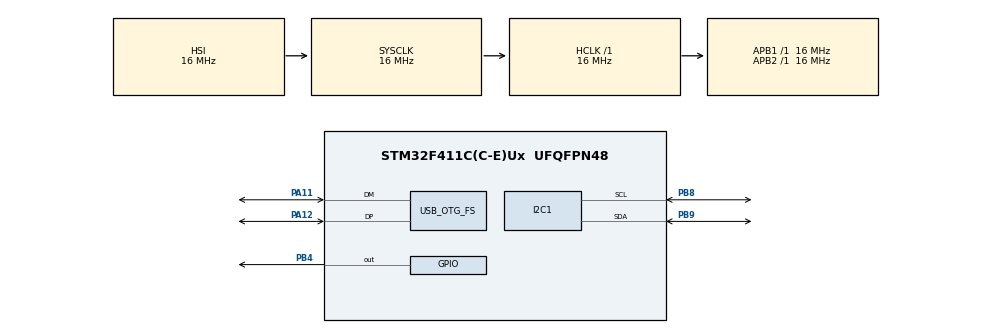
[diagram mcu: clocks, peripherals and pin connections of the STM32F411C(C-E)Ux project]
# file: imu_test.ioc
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Mcu.Family=STM32F4
Mcu.Name=STM32F411C(C-E)Ux
Mcu.Package=UFQFPN48
NVIC.OTG_FS_IRQn=true\:0\:0\:false\:false\:true\:false\:true\:true
NVIC.PriorityGroup=NVIC_PRIORITYGROUP_4
PA11.Mode=Device_Only
PA11.Signal=USB_OTG_FS_DM
PA12.Mode=Device_Only
PA12.Signal=USB_OTG_FS_DP
PA13.Mode=Serial_Wire
PA13.Signal=SYS_JTMS-SWDIO
PA14.Mode=Serial_Wire
PA14.Signal=SYS_JTCK-SWCLK
PB4.Signal=GPIO_Output
PB8.Mode=I2C
PB8.Signal=I2C1_SCL
PB9.Mode=I2C
PB9.Signal=I2C1_SDA
PH0\ -\ OSC_IN.Mode=HSE-External-Oscillator
PH0\ -\ OSC_IN.Signal=RCC_OSC_IN
PH1\ -\ OSC_OUT.Mode=HSE-External-Oscillator
PH1\ -\ OSC_OUT.Signal=RCC_OSC_OUT
ProjectManager.HeapSize=0x200
ProjectManager.StackSize=0x400
ProjectManager.TargetToolchain=CMake
RCC.48MHZClocksFreq_Value=48000000
RCC.AHBFreq_Value=16000000
RCC.APB1Freq_Value=16000000
RCC.APB2Freq_Value=16000000
RCC.CortexFreq_Value=16000000
RCC.HSE_VALUE=25000000
RCC.HSI_VALUE=16000000
RCC.LSE_VALUE=32768
RCC.PLLM=15
RCC.PLLN=144
RCC.PLLQ=5
RCC.SYSCLKFreq_VALUE=16000000
RCC.VCOOutputFreq_Value=240000000
USB_DEVICE.CLASS_NAME_FS=CDC
USB_DEVICE.VirtualMode=Cdc
USB_DEVICE.VirtualModeFS=Cdc_FS
USB_OTG_FS.VirtualMode=Device_Only
VP_USB_DEVICE_VS_USB_DEVICE_CDC_FS.Mode=CDC_FS
board=custom

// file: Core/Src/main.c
/* USER CODE BEGIN Header */
/**
  ******************************************************************************
  * @file           : main.c
  * @brief          : Main program body
  ******************************************************************************
  * @attention
  *
  * Copyright (c) 2026 STMicroelectronics.
  * All rights reserved.
  *
  * This software is licensed under terms that can be found in the LICENSE file
  * in the root directory of this software component.
  * If no LICENSE file comes with this software, it is provided AS-IS.
  *
  ******************************************************************************
  */
/* USER CODE END Header */
#include "main.h"
#include "stm32f4xx_hal.h"
#include "stm32f4xx_hal_def.h"
#include "stm32f4xx_hal_i2c.h"
#include "usb_device.h"

/* USER CODE BEGIN Includes */
#include <math.h>
#include <stdint.h>
#include <stdio.h>
#include "usbd_cdc_if.h"
#include "mpu6050.h"
#include "kalman.h"
/* USER CODE END Includes */

I2C_HandleTypeDef hi2c1;

void SystemClock_Config(void);
static void MX_GPIO_Init(void);
static void MX_I2C1_Init(void);

/* USER CODE BEGIN 0 */

char *data = "Hello World!\n";

/* USER CODE END 0 */

int main(void)
{

  /* MCU Configuration--------------------------------------------------------*/

  /* Reset of all peripherals, Initializes the Flash interface and the Systick. */
  HAL_Init();

  /* Configure the system clock */
  SystemClock_Config();

  /* Initialize all configured peripherals */
  MX_GPIO_Init();
  MX_I2C1_Init();
  MX_USB_DEVICE_Init();
  /* USER CODE BEGIN 2 */

  mpu6050_init();
  mpu6050_calibrate();

  /* USER CODE END 2 */

  /* Infinite loop */
  /* USER CODE BEGIN WHILE */

  // Define data reading structs for MPU6050
  MPU6050_Data_t acc_data;
  MPU6050_Data_t gyro_data;
  float yaw = 0.0f;

  // Define kalman data structs
  Kalman_t kalman_roll;
  Kalman_t kalman_pitch;
  Kalman_Init(&kalman_roll);
  Kalman_Init(&kalman_pitch);

  // Define a timer
  uint32_t timer = HAL_GetTick();

  while (1)
  {
    /* USER CODE END WHILE */

    /* USER CODE BEGIN 3 */

    // Roll - tilts left or right (cartwheel)
    //  + roll = - y
    //  - roll = + y
    // Pitch - tilts forward or backwards (nodding)
    //  + pitch = + x
    //  - pitch = - x
    // Roll - spins left or right (head turning)

    if (
        mpu6050_read_acc(&acc_data) == HAL_OK &&
        mpu6050_read_gyro(&gyro_data) == HAL_OK
    ) {
        // Update timer
        uint32_t current_time = HAL_GetTick();
        float dt = (current_time - timer) / 1000.0f;
        timer = current_time;

        // printf("Acc X: %d, Y: %d, Z: %d\r\n", acc_data.x, acc_data.y, acc_data.z);
        // printf("Gyro X: %d, Y: %d, Z: %d\r\n", gyro_data.x, gyro_data.y, gyro_data.z);

        // Calculate the roll and pitch in radians
        float roll_rad = atan2f(
            (float) acc_data.y,
            (float)acc_data.z
        );
        float pitch_rad = atan2f(
            (float) -acc_data.x,
            sqrtf((float) acc_data.y * acc_data.y + (float) acc_data.z * acc_data.z)
        );

        // Calculate roll and pitch degrees from acc
        float roll_acc = roll_rad * (180.0f / M_PI);
        float pitch_acc = pitch_rad * (180.0f / M_PI);

        // Calculate roll and pitch rates from gyro
        //  65.5 comes from the MPU6050 spec sheet
        float roll_rate = (float) gyro_data.x / 65.5;
        float pitch_rate = (float) gyro_data.y / 65.5;
        float yaw_rate = (float) gyro_data.z / 65.5;

        // Kalman filter calculations
        float roll = Kalman_GetAngle(&kalman_roll, roll_acc, roll_rate, dt);
        float pitch = Kalman_GetAngle(&kalman_pitch, pitch_acc, pitch_rate, dt);

        // Calculate yaw with drift handling
        yaw += yaw_rate * dt;
        if (yaw_rate > -0.5f && yaw_rate < 0.5f) {
            yaw_rate = 0;
        }
        yaw += yaw_rate * dt;

        // Extract values to log
        int roll_whole = (int)roll;
        int roll_decimal = (int)((roll - roll_whole) * 100);
        if (roll_decimal < 0) roll_decimal *= -1;

        int pitch_whole = (int)pitch;
        int pitch_decimal = (int)((pitch - pitch_whole) * 100);
        if (pitch_decimal < 0) pitch_decimal *= -1;

        int yaw_whole = (int)yaw;
        int yaw_decimal = (int)((yaw - yaw_whole) * 100);
        if (yaw_decimal < 0) yaw_decimal *= -1;

        printf("Roll: %d.%02d | Pitch: %d.%02d | Yaw: %d.%02d \r\n", roll_whole, roll_decimal, pitch_whole, pitch_decimal, yaw_whole, yaw_decimal);
    }

    HAL_Delay(50);

  }
  /* USER CODE END 3 */
}

void SystemClock_Config(void)
{
  RCC_OscInitTypeDef RCC_OscInitStruct = {0};
  RCC_ClkInitTypeDef RCC_ClkInitStruct = {0};

  /** Configure the main internal regulator output voltage
  */
  __HAL_RCC_PWR_CLK_ENABLE();
  __HAL_PWR_VOLTAGESCALING_CONFIG(PWR_REGULATOR_VOLTAGE_SCALE1);

  /** Initializes the RCC Oscillators according to the specified parameters
  * in the RCC_OscInitTypeDef structure.
  */
  RCC_OscInitStruct.OscillatorType = RCC_OSCILLATORTYPE_HSI|RCC_OSCILLATORTYPE_HSE;
  RCC_OscInitStruct.HSEState = RCC_HSE_ON;
  RCC_OscInitStruct.HSIState = RCC_HSI_ON;
  RCC_OscInitStruct.HSICalibrationValue = RCC_HSICALIBRATION_DEFAULT;
  RCC_OscInitStruct.PLL.PLLState = RCC_PLL_ON;
  RCC_OscInitStruct.PLL.PLLSource = RCC_PLLSOURCE_HSE;
  RCC_OscInitStruct.PLL.PLLM = 15;
  RCC_OscInitStruct.PLL.PLLN = 144;
  RCC_OscInitStruct.PLL.PLLP = RCC_PLLP_DIV2;
  RCC_OscInitStruct.PLL.PLLQ = 5;
  if (HAL_RCC_OscConfig(&RCC_OscInitStruct) != HAL_OK)
  {
    Error_Handler();
  }

  /** Initializes the CPU, AHB and APB buses clocks
  */
  RCC_ClkInitStruct.ClockType = RCC_CLOCKTYPE_HCLK|RCC_CLOCKTYPE_SYSCLK
                              |RCC_CLOCKTYPE_PCLK1|RCC_CLOCKTYPE_PCLK2;
  RCC_ClkInitStruct.SYSCLKSource = RCC_SYSCLKSOURCE_HSI;
  RCC_ClkInitStruct.AHBCLKDivider = RCC_SYSCLK_DIV1;
  RCC_ClkInitStruct.APB1CLKDivider = RCC_HCLK_DIV1;
  RCC_ClkInitStruct.APB2CLKDivider = RCC_HCLK_DIV1;

  if (HAL_RCC_ClockConfig(&RCC_ClkInitStruct, FLASH_LATENCY_0) != HAL_OK)
  {
    Error_Handler();
  }
}

static void MX_I2C1_Init(void)
{

  hi2c1.Instance = I2C1;
  hi2c1.Init.ClockSpeed = 100000;
  hi2c1.Init.DutyCycle = I2C_DUTYCYCLE_2;
  hi2c1.Init.OwnAddress1 = 0;
  hi2c1.Init.AddressingMode = I2C_ADDRESSINGMODE_7BIT;
  hi2c1.Init.DualAddressMode = I2C_DUALADDRESS_DISABLE;
  hi2c1.Init.OwnAddress2 = 0;
  hi2c1.Init.GeneralCallMode = I2C_GENERALCALL_DISABLE;
  hi2c1.Init.NoStretchMode = I2C_NOSTRETCH_DISABLE;
  if (HAL_I2C_Init(&hi2c1) != HAL_OK)
  {
    Error_Handler();
  }

}

static void MX_GPIO_Init(void)
{
  GPIO_InitTypeDef GPIO_InitStruct = {0};

  /* GPIO Ports Clock Enable */
  __HAL_RCC_GPIOH_CLK_ENABLE();
  __HAL_RCC_GPIOA_CLK_ENABLE();
  __HAL_RCC_GPIOB_CLK_ENABLE();

  /*Configure GPIO pin Output Level */
  HAL_GPIO_WritePin(GPIOB, GPIO_PIN_4, GPIO_PIN_RESET);

  /*Configure GPIO pin : PB4 */
  GPIO_InitStruct.Pin = GPIO_PIN_4;
  GPIO_InitStruct.Mode = GPIO_MODE_OUTPUT_PP;
  GPIO_InitStruct.Pull = GPIO_NOPULL;
  GPIO_InitStruct.Speed = GPIO_SPEED_FREQ_LOW;
  HAL_GPIO_Init(GPIOB, &GPIO_InitStruct);

}

/* USER CODE BEGIN 4 */

int _write(int file, char *ptr, int len) {
    CDC_Transmit_FS((uint8_t*) ptr, len); return len;
}

/* USER CODE END 4 */

void Error_Handler(void)
{
  __disable_irq();
  while (1)
  {
  }
}
